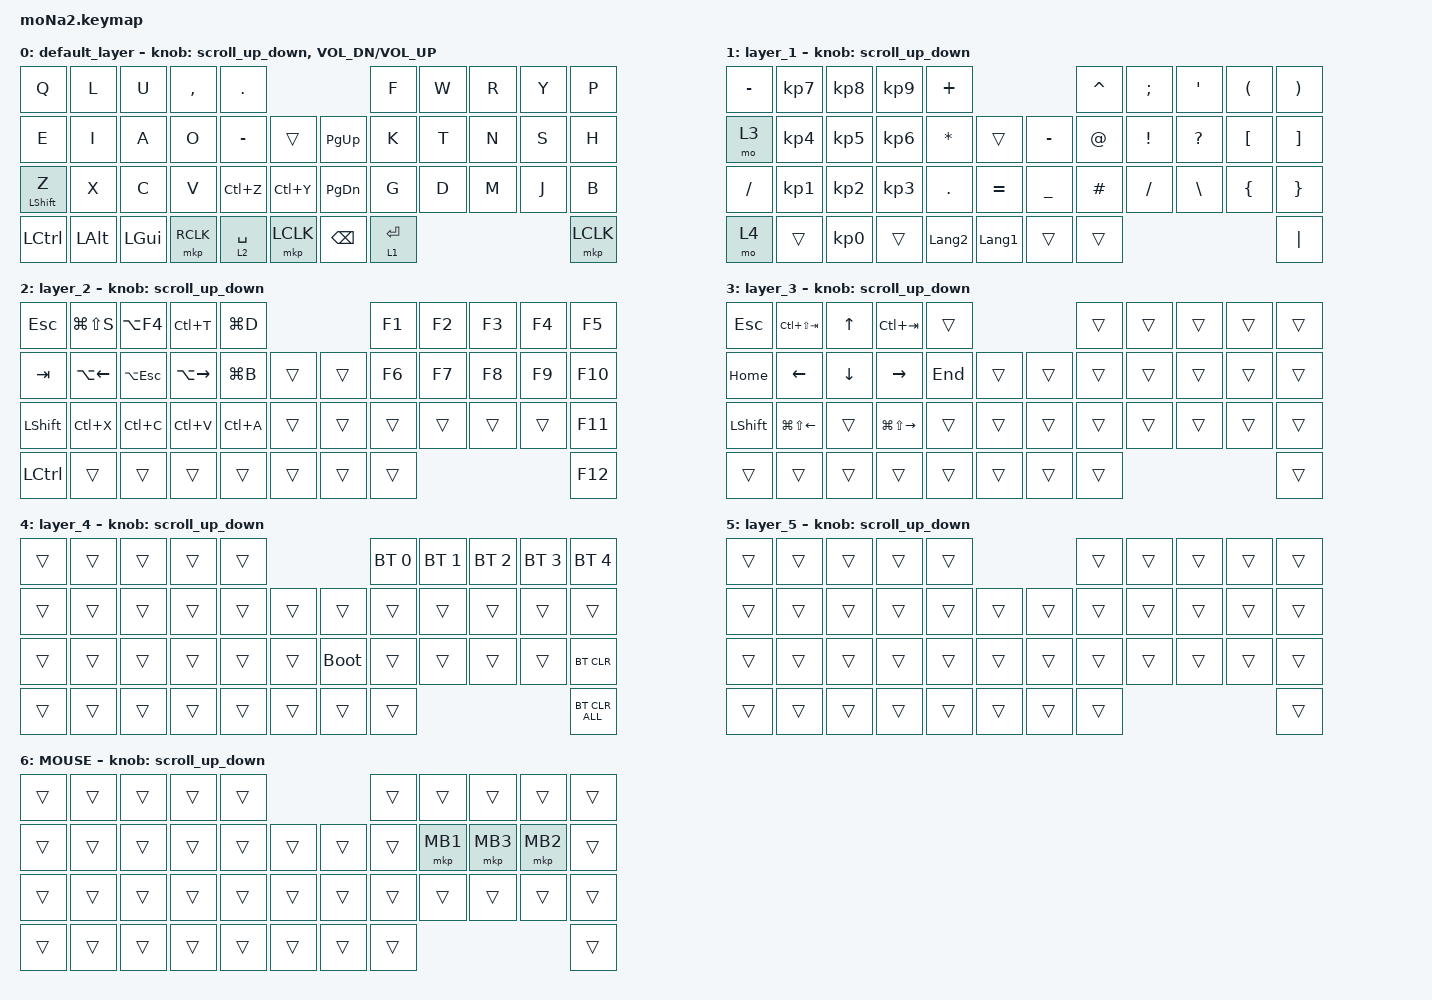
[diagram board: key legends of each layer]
#include <behaviors.dtsi>
#include <dt-bindings/zmk/bt.h>
#include <dt-bindings/zmk/keys.h>
#include <dt-bindings/zmk/pointing.h>

#define ZMK_POINTING_DEFAULT_SCRL_VAL 100
#define MOUSE 6

&mt {
    flavor = "balanced";
    quick-tap-ms = <0>;
};

/ {
    combos { compatible = "zmk,combos"; };

    macros {
        to_layer_0: to_layer_0 {
            compatible = "zmk,behavior-macro-one-param";
            #binding-cells = <1>;
            bindings = <&to 0 &macro_param_1to1 &kp MACRO_PLACEHOLDER>;
            label = "TO_LAYER_0";
        };
    };

    behaviors {
        lt_to_layer_0: lt_to_layer_0 {
            compatible = "zmk,behavior-hold-tap";
            label = "LAYER_TAP_TO_0";
            bindings = <&mo>, <&to_layer_0>;

            #binding-cells = <2>;
            tapping-term-ms = <200>;
        };

        scroll_up_down: behavior_sensor_rotate_mouse_wheel_up_down {
            compatible = "zmk,behavior-sensor-rotate";
            #sensor-binding-cells = <0>;
            bindings = <&msc SCRL_UP>, <&msc SCRL_DOWN>;

            tap-ms = <20>;
        };
    };

    keymap {
        compatible = "zmk,keymap";

        default_layer {
            bindings = <
&kp Q             &kp L         &kp U         &kp COMMA  &kp PERIOD                               &kp F        &kp W  &kp R  &kp Y  &kp P
&kp E             &kp I         &kp A         &kp O      &kp MINUS    &trans       &kp PAGE_UP    &kp K        &kp T  &kp N  &kp S  &kp H
&mt LEFT_SHIFT Z  &kp X         &kp C         &kp V      &kp LC(Z)    &kp LC(Y)    &kp PAGE_DOWN  &kp G        &kp D  &kp M  &kp J  &kp B
&kp LCTRL         &kp LEFT_ALT  &kp LEFT_GUI  &mkp RCLK  &lt 2 SPACE  &mkp LCLK    &kp BACKSPACE  &lt 1 ENTER                       &mkp LCLK
            >;

            sensor-bindings =
                <&scroll_up_down>,
                <&inc_dec_kp C_VOL_DN C_VOL_UP>;
        };

        layer_1 {
            bindings = <
&kp MINUS  &kp KP_NUMBER_7  &kp KP_NUMBER_8  &kp KP_NUMBER_9  &kp PLUS                                     &kp CARET    &kp SEMICOLON    &kp SQT        &kp LEFT_PARENTHESIS  &kp RIGHT_PARENTHESIS
&mo 3      &kp KP_NUMBER_4  &kp KP_NUMBER_5  &kp KP_NUMBER_6  &kp ASTERISK    &trans            &kp MINUS  &kp AT_SIGN  &kp EXCLAMATION  &kp QUESTION   &kp LEFT_BRACKET      &kp RIGHT_BRACKET
&kp SLASH  &kp KP_NUMBER_1  &kp KP_NUMBER_2  &kp KP_NUMBER_3  &kp PERIOD      &kp EQUAL         &kp UNDER  &kp HASH     &kp SLASH        &kp BACKSLASH  &kp LEFT_BRACE        &kp RIGHT_BRACE
&mo 4      &trans           &kp KP_NUMBER_0  &trans           &kp LANGUAGE_2  &kp LANGUAGE_1    &trans     &trans                                                             &kp PIPE
            >;

            sensor-bindings = <&scroll_up_down>;
        };

        layer_2 {
            bindings = <
&kp ESCAPE      &kp LG(LS(S))  &kp LA(F4)      &kp LC(T)      &kp LG(D)                    &kp F1  &kp F2  &kp F3  &kp F4  &kp F5
&kp TAB         &kp LA(LEFT)   &kp LA(ESCAPE)  &kp LA(RIGHT)  &kp LG(B)  &trans    &trans  &kp F6  &kp F7  &kp F8  &kp F9  &kp F10
&kp LEFT_SHIFT  &kp LC(X)      &kp LC(C)       &kp LC(V)      &kp LC(A)  &trans    &trans  &trans  &trans  &trans  &trans  &kp F11
&kp LCTRL       &trans         &trans          &trans         &trans     &trans    &trans  &trans                          &kp F12
            >;

            sensor-bindings = <&scroll_up_down>;
        };

        layer_3 {
            bindings = <
&kp ESCAPE      &kp LC(LS(TAB))         &kp UP_ARROW    &kp LC(TAB)              &trans                     &trans  &trans  &trans  &trans  &trans
&kp HOME        &kp LEFT_ARROW          &kp DOWN_ARROW  &kp RIGHT_ARROW          &kp END  &trans    &trans  &trans  &trans  &trans  &trans  &trans
&kp LEFT_SHIFT  &kp LG(LS(LEFT_ARROW))  &trans          &kp LG(LS(RIGHT_ARROW))  &trans   &trans    &trans  &trans  &trans  &trans  &trans  &trans
&trans          &trans                  &trans          &trans                   &trans   &trans    &trans  &trans                          &trans
            >;

            sensor-bindings = <&scroll_up_down>;
        };

        layer_4 {
            bindings = <
&trans  &trans  &trans  &trans  &trans                         &bt BT_SEL 0  &bt BT_SEL 1  &bt BT_SEL 2  &bt BT_SEL 3  &bt BT_SEL 4
&trans  &trans  &trans  &trans  &trans  &trans    &trans       &trans        &trans        &trans        &trans        &trans
&trans  &trans  &trans  &trans  &trans  &trans    &bootloader  &trans        &trans        &trans        &trans        &bt BT_CLR
&trans  &trans  &trans  &trans  &trans  &trans    &trans       &trans                                                  &bt BT_CLR_ALL
            >;

            sensor-bindings = <&scroll_up_down>;
        };

        layer_5 {
            bindings = <
&trans  &trans  &trans  &trans  &trans                    &trans  &trans  &trans  &trans  &trans
&trans  &trans  &trans  &trans  &trans  &trans    &trans  &trans  &trans  &trans  &trans  &trans
&trans  &trans  &trans  &trans  &trans  &trans    &trans  &trans  &trans  &trans  &trans  &trans
&trans  &trans  &trans  &trans  &trans  &trans    &trans  &trans                          &trans
            >;

            sensor-bindings = <&scroll_up_down>;
        };

        MOUSE {
            bindings = <
&trans  &trans  &trans  &trans  &trans                    &trans  &trans    &trans    &trans    &trans
&trans  &trans  &trans  &trans  &trans  &trans    &trans  &trans  &mkp MB1  &mkp MB3  &mkp MB2  &trans
&trans  &trans  &trans  &trans  &trans  &trans    &trans  &trans  &trans    &trans    &trans    &trans
&trans  &trans  &trans  &trans  &trans  &trans    &trans  &trans                                &trans
            >;

            sensor-bindings = <&scroll_up_down>;
        };
    };
};
